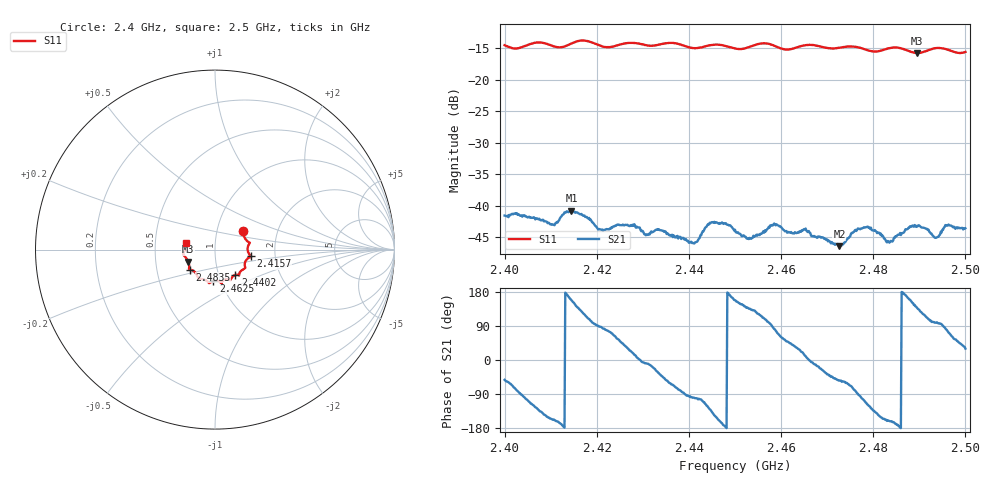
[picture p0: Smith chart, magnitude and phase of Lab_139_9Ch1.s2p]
# Hz S RI R 50
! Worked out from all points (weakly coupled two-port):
!   601 points, 2.4 GHz to 2.5 GHz, reference 50 ohm
!   highest |S21| = -40.80 dB at 2.4145 GHz (marker M1); lowest = -46.4 dB at 2.4727 GHz (marker M2)
!   lowest |S11| = -15.7 dB at 2.4895 GHz (marker M3), VSWR 1.39, Z = 36.8 - j5.14 ohm
!   |S11| at or under -10 dB: start of sweep to end of sweep
!   S12 and S22 are empty: the file has one direction only
!   S11 on the Smith chart (normalised r, x): 2.4 GHz: 1.33, +0.29; 2.4157 GHz: 1.49, -0.11; 2.4402 GHz: 1.20, -0.35; 2.4625 GHz: 0.92, -0.34; 2.4835 GHz: 0.74, -0.17; 2.5 GHz: 0.72, +0.05
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2.4e9  0.1562 0.1058  0.0051 -0.0066  0 0  0 0
2.410333e9  0.1854 0.0222  -0.00654 -0.00281  0 0  0 0
2.4145e9  0.1925 -0.0289  -0.00843 0.00349  0 0  0 0
2.415667e9  0.1989 -0.0366  -0.00687 0.0056  0 0  0 0
2.416667e9  0.2018 -0.0401  -0.00539 0.00669  0 0  0 0
2.420833e9  0.1787 -0.0524  0.00026 0.00645  0 0  0 0
2.433333e9  0.1354 -0.1335  0.00535 -0.00355  0 0  0 0
2.440167e9  0.1141 -0.1403  -0.000464 -0.00506  0 0  0 0
2.445e9  0.086 -0.1689  -0.00544 -0.00501  0 0  0 0
2.45e9  0.064 -0.1657  -0.00596 0.00243  0 0  0 0
2.453167e9  0.0396 -0.1786  -0.00396 0.00389  0 0  0 0
2.458833e9  0.0307 -0.1822  0.00153 0.0068  0 0  0 0
2.4625e9  -0.00956 -0.177  0.0046 0.00388  0 0  0 0
2.466667e9  -0.0331 -0.1866  0.00568 -0.000593  0 0  0 0
2.472667e9  -0.0747 -0.1637  0.00281 -0.00384  0 0  0 0
2.478333e9  -0.1011 -0.1416  -0.00251 -0.00625  0 0  0 0
2.483333e9  -0.1386 -0.1121  -0.00489 -0.00177  0 0  0 0
2.4835e9  -0.1395 -0.1117  -0.00479 -0.00169  0 0  0 0
2.4895e9  -0.1485 -0.0681  -0.00511 0.00465  0 0  0 0
2.493667e9  -0.1771 -0.027  -0.00086 0.00549  0 0  0 0
2.496e9  -0.1739 -0.0155  0.00138 0.00684  0 0  0 0
2.5e9  -0.1629 0.036  0.00572 0.00332  0 0  0 0
